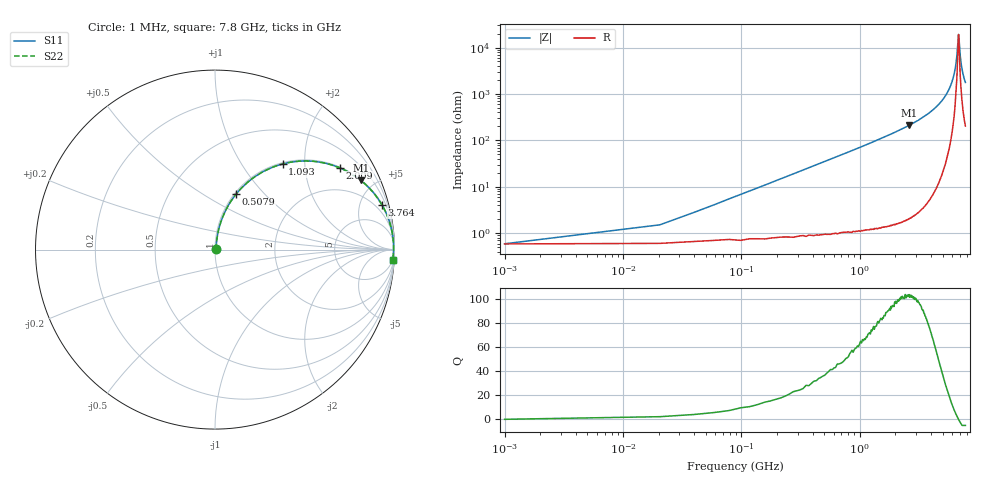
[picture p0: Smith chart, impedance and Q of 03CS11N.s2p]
! Coilcraft 0302CS-11N Chip Inductor
! 18 February 2004
# MHZ S MA R 50
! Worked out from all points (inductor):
!   401 points, 1 MHz to 7.8 GHz, reference 50 ohm
!   read as one part in series: L = 11 nH near 39.99 MHz
!   highest Q = 103 at 2.594 GHz (marker M1), where L = 12.9 nH
!   self-resonance near 6.825 GHz
!   S11 on the Smith chart (normalised r, x): 1 MHz: 1.01, +0.00; 507.9 MHz: 1.02, +0.71; 1.093 GHz: 1.02, +1.55; 2.009 GHz: 1.03, +3.04; 3.764 GHz: 1.09, +7.47; 7.8 GHz: 5, -35
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1  0.005778 6.8  0.994 -0.0  0.994 -0.0  0.005778 6.8
78.99  0.055 79.5  0.991 -3.1  0.991 -3.1  0.055 79.5
137.482  0.094 80.0  0.988 -5.4  0.988 -5.4  0.094 80.0
293.462  0.198 76.2  0.972 -11.4  0.972 -11.4  0.198 76.2
507.935  0.33 69.2  0.935 -19.3  0.935 -19.3  0.33 69.2
1092.86  0.608 51.7  0.785 -37.5  0.785 -37.5  0.608 51.7
1307.332  0.68 46.4  0.725 -42.8  0.725 -42.8  0.68 46.4
2009.242  0.832 33.2  0.547 -56.3  0.547 -56.3  0.832 33.2
2594.167  0.899 25.4  0.429 -64.0  0.429 -64.0  0.899 25.4
2613.665  0.901 25.2  0.426 -64.3  0.426 -64.3  0.901 25.2
3764.017  0.963 14.9  0.258 -74.3  0.258 -74.3  0.963 14.9
3900.5  0.967 14.0  0.242 -75.2  0.242 -75.2  0.967 14.0
5206.833  0.99 6.6  0.115 -81.6  0.115 -81.6  0.99 6.6
6006.23  0.994 3.1  0.055 -82.3  0.055 -82.3  0.994 3.1
6318.19  0.995 1.9  0.033 -80.1  0.033 -80.1  0.995 1.9
6513.165  0.995 1.2  0.021 -75.3  0.021 -75.3  0.995 1.2
6630.15  0.995 0.7  0.014 -67.8  0.014 -67.8  0.995 0.7
6786.13  0.995 0.2  0.005872 -28.5  0.005872 -28.5  0.995 0.2
6844.623  0.995 -0.0  0.005282 8.6  0.005282 8.6  0.995 -0.0
7020.1  0.994 -0.7  0.013 64.0  0.013 64.0  0.994 -0.7
7234.573  0.994 -1.4  0.025 75.3  0.025 75.3  0.994 -1.4
7800  0.992 -3.2  0.056 80.2  0.056 80.2  0.992 -3.2
